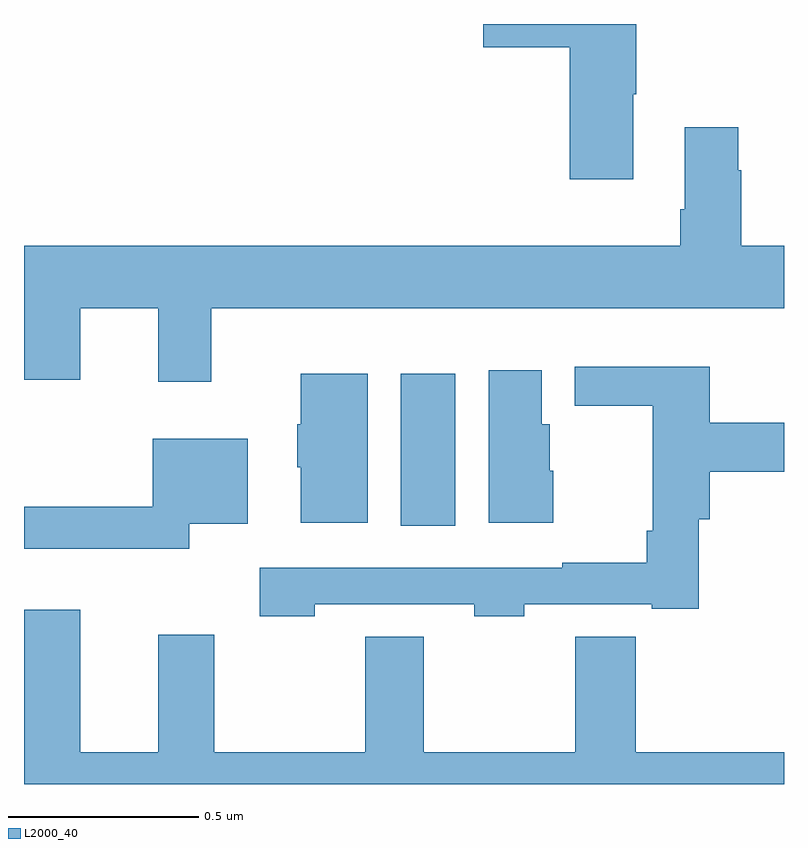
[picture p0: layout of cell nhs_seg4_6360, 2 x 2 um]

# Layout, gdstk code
import gdstk
lib = gdstk.Library(unit=1e-6, precision=1e-09)
def R(c, l, rs):  # rectangles x0, y0, x1, y1
    for r in rs: c.add(gdstk.rectangle(r[:2], r[2:], *l))
def P(c, l, *ps):  # polygons
    for p in ps: c.add(gdstk.Polygon(p, *l))
L2000_40 = (2000, 40)

nhs_seg4_6360 = lib.new_cell('nhs_seg4_6360')
R(nhs_seg4_6360, L2000_40, [(189.992,797.58,190.135,797.98)])
P(nhs_seg4_6360, L2000_40, [(190.603,798.715),(190.611,798.715),(190.611,798.9),(190.208,798.9),(190.208,798.839),(190.436,798.839),(190.436,798.492),(190.603,798.492)],
  [(191,798.316),(190.887,798.316),(190.887,798.515),(190.879,798.515),(190.879,798.628),(190.739,798.628),(190.739,798.412),(190.727,798.412),(190.727,798.316),(189,798.316),(189,797.964),(189.148,797.964),(189.148,798.152),(189.353,798.152),(189.353,797.958),(189.493,797.958),(189.493,798.152),(191,798.152)],
  [(189.765,797.373),(190.185,797.373),(190.185,797.341),(190.317,797.341),(190.317,797.373),(190.652,797.373),(190.652,797.361),(190.775,797.361),(190.775,797.597),(190.805,797.597),(190.805,797.722),(191,797.722),(191,797.851),(190.805,797.851),(190.805,797.998),(190.449,797.998),(190.449,797.896),(190.654,797.896),(190.654,797.566),(190.639,797.566),(190.639,797.482),(190.417,797.482),(190.417,797.469),(189.621,797.469),(189.621,797.341),(189.765,797.341)],
  [(190.393,797.724),(190.384,797.724),(190.384,797.847),(190.363,797.847),(190.363,797.989),(190.223,797.989),(190.223,797.588),(190.393,797.588)],
  [(189.904,797.98),(189.728,797.98),(189.728,797.847),(189.719,797.847),(189.719,797.733),(189.728,797.733),(189.728,797.588),(189.904,797.588)],
  [(189.435,797.585),(189.589,797.585),(189.589,797.809),(189.339,797.809),(189.339,797.629),(189,797.629),(189,797.519),(189.435,797.519)],
  [(191,796.984),(190.61,796.984),(190.61,797.288),(190.45,797.288),(190.45,796.984),(190.052,796.984),(190.052,797.288),(189.898,797.288),(189.898,796.984),(189.501,796.984),(189.501,797.293),(189.353,797.293),(189.353,796.984),(189.148,796.984),(189.148,797.359),(189,797.359),(189,796.9),(191,796.9)])

lib.write_gds('nhs_seg4_6360.gds')
